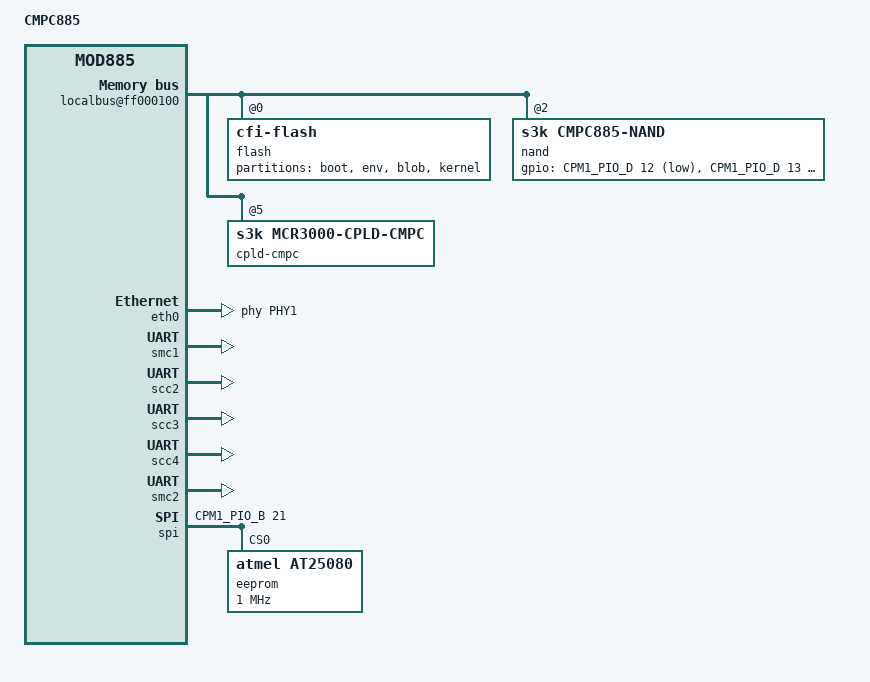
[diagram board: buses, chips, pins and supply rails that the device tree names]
/*
 * CMPC885 Device Tree Source
 *
 * Copyright 2010 CSSI, Inc
 */

/dts-v1/;

/ {
	model = "CMPC885";
	compatible = "fsl,cmpc885", "fsl,mod885";
	#address-cells = <1>;
	#size-cells = <1>;

	aliases {
		ethernet0 = &eth0;
		mdio1 = &phy1;
		serial0 = &smc1;
	};

	cpus {
		#address-cells = <1>;
		#size-cells = <0>;

		PowerPC,885@0 {
			device_type = "cpu";
			reg = <0x0>;
			d-cache-line-size = <16>;	// 16 bytes
			i-cache-line-size = <16>;	// 16 bytes
			d-cache-size = <8192>;
			i-cache-size = <8192>;
			timebase-frequency = <0>;
			bus-frequency = <0>;
			clock-frequency = <0>;
			interrupts = <15 2>;		// decrementer interrupt
			interrupt-parent = <&PIC>;
		};
	};

	memory {
		device_type = "memory";
		reg = <0x0 0x0>;			// defined by U-BOOT
	};

	localbus@ff000100 {
		compatible = "fsl,cmpc885-localbus", "fsl,pq1-localbus";
		#address-cells = <2>;
		#size-cells = <1>;
		reg = <0xff000100 0x40>;		  // ORx and BRx register

		ranges = <0 0x0 0x40000000 0x00400000	// Boot Flash
			  1 0x0 0x00000000 0x08000000	// SRAM
			  2 0x0 0xc0000000 0x00008000	// Nand Flash
			  3 0x0 0xe0000000 0x00010000	// DPRAM
			  4 0x0 0xd0000000 0x10000000	// Periphs
			  5 0x0 0xc8000000 0x00008000	// CPLD
			  6 0x0 0x80000000 0x00008000	// mezzanine
			  7 0x0 0xf0000000 0x00008000>;	// DSP

		flash@0,0 {
			#address-cells = <1>;
			#size-cells = <1>;
			compatible = "cfi-flash";
			reg = <0x0 0x00000000 0x400000>;
			bank-width = <2>;
			device-width = <2>;
			partition@0 {
				label = "boot";
				reg = <0x0 0x50000>;
			};
			partition@50000 {
				label = "env";
				reg = <0x50000 0x10000>;
			};
			partition@60000 {
				label = "blob";
				reg = <0x60000 0x30000>;
			};
			partition@90000 {
				label = "kernel";
				reg = <0x90000 0x370000>;
			};
		};

		nand@2,0 {
			compatible = "s3k,cmpc885-nand";
			reg = <2 0x0 0x01>;
			#address-cells = <1>;
			#size-cells = <1>;
			gpios = <&CPM1_PIO_D 12 1 	// CLE
				 &CPM1_PIO_D 13 1	// ALE
				 &CPM1_PIO_D 15 1>;	// NCE
		};

		cpld-cmpc@5,0000000 { // Driver KNL
			#address-cells = <1>;
			#size-cells = <1>;
			compatible = "s3k,mcr3000-cpld-cmpc";
			reg = <5 0x0 0x10>;
		};
	};

	soc@ff000000 {
		compatible = "fsl,mpc885", "fsl,pq1-soc";
		#address-cells = <1>;
		#size-cells = <1>;
		device_type = "soc";
		ranges = <0x0 0xff000000 0x4000>;
		bus-frequency = <0>;

		WDT: watchdog@0 {
			compatible = "fsl,mpc823-wdt";
			reg = <0x0 0x10>;
		};

		phy1: mdio@e00 {
			compatible = "fsl,mpc885-fec-mdio", "fsl,pq1-fec-mdio";
			reg = <0xe00 0x188>;
			#address-cells = <1>;
			#size-cells = <0>;

			PHY1: ethernet-phy@1 {
				interrupts = <2 1>;
				interrupt-parent = <&PIC>;
				reg = <0x1>;
				device_type = "ethernet-phy";
			};
		};

		eth0: ethernet@e00 {
			device_type = "network";
			compatible = "fsl,mpc885-fec-enet", "fsl,pq1-fec-enet";
			reg = <0xe00 0x188>;
			local-mac-address = [ 00 00 00 00 00 00 ];
			interrupts = <3 1>;
			interrupt-parent = <&PIC>;
			phy-handle = <&PHY1>;
			linux,network-index = <0>;
		};

		PIC: pic@0 {
			interrupt-controller;
			#interrupt-cells = <2>;
			reg = <0x0 0x24>;
			compatible = "fsl,mpc885-pic", "fsl,pq1-pic";
		};

		SIT: sit@200 {
			compatible = "fsl,mpc866-sit", "fsl,pq1-sit";
			reg = <0x200 0x80>;
			interrupts = <11 1>;
			interrupt-parent = <&PIC>;
		};

		cpm@9c0 {
			#address-cells = <1>;
			#size-cells = <1>;
			compatible = "fsl,mpc885-cpm", "fsl,cpm1";
			ranges;
			reg = <0x9c0 0x40>;
			brg-frequency = <0>;
			interrupts = <0>;	// cpm error interrupt
			interrupt-parent = <&CPM_PIC>;

			muram@2000 {
				#address-cells = <1>;
				#size-cells = <1>;
				ranges = <0x0 0x2000 0x2000>;

				data@0 {
					compatible = "fsl,cpm-muram-data";
					reg = <0x0 0x1c00>;
				};
			};

			brg@9f0 {
				compatible = "fsl,mpc885-brg", "fsl,cpm1-brg", "fsl,cpm-brg";
				reg = <0x9f0 0x10>;
				clock-frequency = <0>;
			};

			CPM_PIC: pic@930 {
				interrupt-controller;
				#address-cells = <0>;
				#interrupt-cells = <1>;
				interrupts = <5 2 0 2>;
				interrupt-parent = <&PIC>;
				reg = <0x930 0x20>;
				compatible = "fsl,mpc885-cpm-pic", "fsl,cpm1-pic";
			};

			CPM1_PIO_A: gpio-controller@950 {
				#gpio-cells = <2>;
				compatible = "fsl,cpm1-pario-bank-a";
				reg = <0x950 0x10>;
				gpio-controller;
			};
		
			CPM1_PIO_B: gpio-controller@ab8 {
				#gpio-cells = <2>;
				compatible = "fsl,cpm1-pario-bank-b";
				reg = <0xab8 0x10>;
				gpio-controller;
			};
		
			CPM1_PIO_C: gpio-controller@960 {
				#gpio-cells = <2>;
				compatible = "fsl,cpm1-pario-bank-c";
				reg = <0x960 0x10>;
				interrupts = <0 0 0 0 1 2 6 9 10 11 14 15 23 24 26 31>;
				interrupt-parent = <&CPM_PIC>;
				gpio-controller;
			};
		
			CPM1_PIO_D: gpio-controller@970 {
				#gpio-cells = <2>;
				compatible = "fsl,cpm1-pario-bank-d";
				reg = <0x970 0x10>;
				gpio-controller;
			};

			CPM1_PIO_E: gpio-controller@ac8 {
				#gpio-cells = <2>;
				compatible = "fsl,cpm1-pario-bank-e";
				reg = <0xac8 0x18>;
				gpio-controller;
			};

			smc1: serial@a80 {
				device_type = "serial";
				compatible = "fsl,mpc885-smc-uart", "fsl,cpm1-smc-uart";
				reg = <0xa80 0x10 0x3e80 0x40>;
				interrupts = <4>;
				interrupt-parent = <&CPM_PIC>;
				fsl,cpm-brg = <4>;
				fsl,cpm-command = <0x90>;
			};

			scc2: serial@a20 {
				device_type = "serial";
				compatible = "fsl,mpc885-scc-uart", "fsl,cpm1-scc-uart";
				reg = <0xa20 0x20 0x3d00 0x80>;
				interrupts = <29>;
				interrupt-parent = <&CPM_PIC>;
				fsl,cpm-brg = <1>;
				fsl,cpm-command = <0x40>;
			};

			scc3: serial@a40 {
				device_type = "serial";
				compatible = "fsl,mpc885-scc-uart", "fsl,cpm1-scc-uart";
				reg = <0xa40 0x20 0x3e00 0x80>;
				interrupts = <28>;
				interrupt-parent = <&CPM_PIC>;
				fsl,cpm-brg = <2>;
				fsl,cpm-command = <0x80>;
			};

			scc4: serial@a60 {
				device_type = "serial";
				compatible = "fsl,mpc885-scc-uart", "fsl,cpm1-scc-uart";
				reg = <0xa60 0x20 0x3f00 0x80>;
				interrupts = <27>;
				interrupt-parent = <&CPM_PIC>;
				fsl,cpm-brg = <3>;
				fsl,cpm-command = <0xc0>;
			};

			smc2: serial@a90 {
				device_type = "serial";
				compatible = "fsl,mpc885-smc-uart", "fsl,cpm1-smc-uart";
				reg = <0xa90 0x10 0x3f80 0x40>;
				interrupts = <3>;
				interrupt-parent = <&CPM_PIC>;
				fsl,cpm-brg = <3>; /* normalement mettre une clock venant du FPGA */
				fsl,cpm-command = <0xd0>;
			};

			spi: spi@a80 {
				#address-cells = <1>;
				#size-cells = <0>;
				cell-index = <0>;
				compatible = "fsl,spi", "fsl,cpm1-spi";
				reg = <0xa80 0x30 0x1d80 0x30>;
				interrupts = <5>;
				interrupt-parent = <&CPM_PIC>;
				mode = "cpu";
				gpios = <&CPM1_PIO_B 21 1>;	/* EEPROM */
				eeprom@0 {
					compatible = "atmel,at25080", "cs,eeprom";
					spi-max-frequency = <1000000>;
					reg = <0>;
					spi-cs-high;
				};
			};
		};
	};

	chosen {
		linux,stdout-path = &smc1;
	};
};
